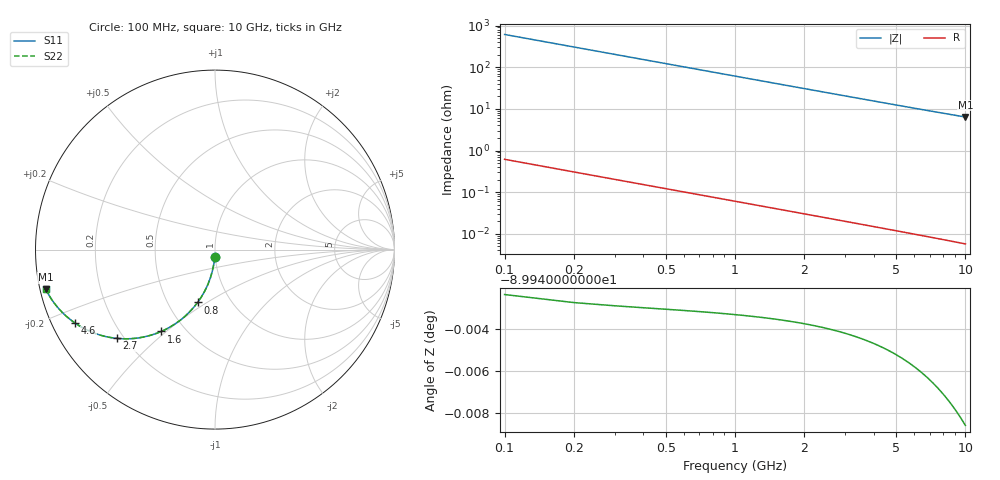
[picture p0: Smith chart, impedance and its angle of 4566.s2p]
# Hz S RI R 50.00
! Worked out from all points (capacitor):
!   100 points, 100 MHz to 10 GHz, reference 50 ohm
!   read as one part in shunt: C = 2.6 pF near 100 MHz
!   lowest |Z| = 6.38 ohm at 10 GHz (marker M1)
!   S11 on the Smith chart (normalised r, x): 100 MHz: 0.99, -0.08; 800 MHz: 0.70, -0.46; 1.6 GHz: 0.37, -0.48; 2.7 GHz: 0.17, -0.37; 4.6 GHz: 0.07, -0.25; 10 GHz: 0.02, -0.12
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1e8  -0.00169 -0.0407  0.9983 -0.0409  0.9983 -0.0409  -0.00169 -0.0407
2e8  -0.00669 -0.081  0.9933 -0.0814  0.9933 -0.0814  -0.00669 -0.081
3e8  -0.0149 -0.1205  0.9851 -0.121  0.9851 -0.121  -0.0149 -0.1205
4e8  -0.0261 -0.1588  0.9738 -0.1595  0.9738 -0.1595  -0.0261 -0.1588
5e8  -0.0402 -0.1956  0.9597 -0.1965  0.9597 -0.1965  -0.0402 -0.1956
6e8  -0.0569 -0.2306  0.9431 -0.2317  0.9431 -0.2317  -0.0569 -0.2306
8e8  -0.0967 -0.2943  0.9033 -0.2959  0.9033 -0.2959  -0.0967 -0.2943
1e9  -0.1432 -0.3488  0.8568 -0.3507  0.8568 -0.3507  -0.1432 -0.3488
1.2e9  -0.1938 -0.3936  0.8061 -0.396  0.8061 -0.396  -0.1938 -0.3936
1.4e9  -0.2464 -0.4291  0.7536 -0.4318  0.7536 -0.4318  -0.2464 -0.4291
1.6e9  -0.2991 -0.4558  0.7009 -0.4589  0.7009 -0.4589  -0.2991 -0.4558
1.8e9  -0.3505 -0.4749  0.6494 -0.4784  0.6494 -0.4784  -0.3505 -0.4749
2.2e9  -0.446 -0.4944  0.5539 -0.4987  0.5539 -0.4987  -0.446 -0.4944
2.7e9  -0.5476 -0.4946  0.4523 -0.4999  0.4523 -0.4999  -0.5476 -0.4946
3.4e9  -0.6571 -0.4708  0.3429 -0.4775  0.3429 -0.4775  -0.6571 -0.4708
4e9  -0.7259 -0.4416  0.274 -0.4495  0.274 -0.4495  -0.7259 -0.4416
4.6e9  -0.7777 -0.4107  0.2222 -0.4198  0.2222 -0.4198  -0.7777 -0.4107
5.1e9  -0.8112 -0.3857  0.1887 -0.3958  0.1887 -0.3958  -0.8112 -0.3857
5.8e9  -0.8474 -0.3532  0.1525 -0.3648  0.1525 -0.3648  -0.8474 -0.3532
6.7e9  -0.8811 -0.3164  0.1188 -0.3298  0.1188 -0.3298  -0.8811 -0.3164
8.4e9  -0.921 -0.2606  0.0788 -0.2776  0.0788 -0.2776  -0.921 -0.2606
1e10  -0.9431 -0.2207  0.0567 -0.2412  0.0567 -0.2412  -0.9431 -0.2207
